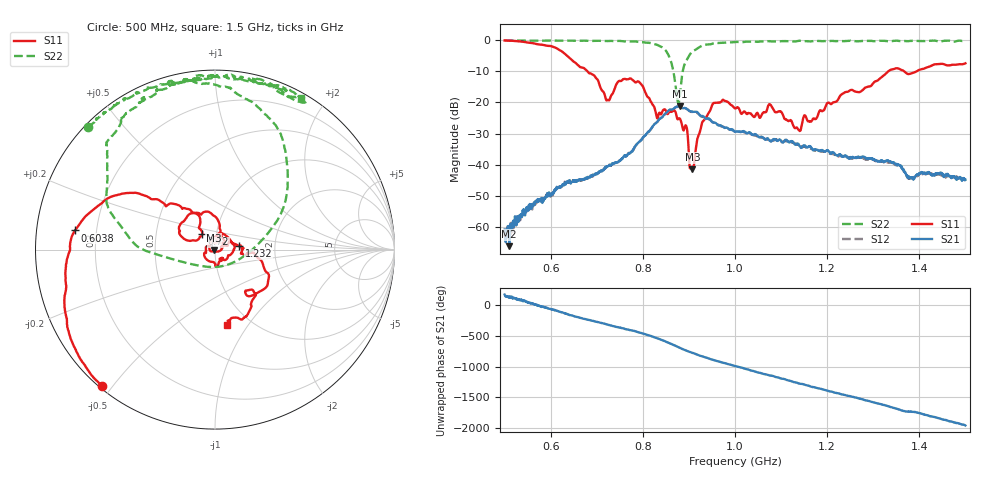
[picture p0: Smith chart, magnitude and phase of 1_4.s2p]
!Agilent Technologies,E8364B,US42250235,A.06.04.32
!Agilent E8364B: A.06.04.32
!Date: Friday, January 15, 2021 16:15:18
!Correction: S11(Full 2 Port(1,2)) S21(Full 2 Port(1,2)) S12(Full 2 Port(1,2)) S22(Full 2 Port(1,2))
!S2P File: Measurements: S11, S21, S12, S22:
# Hz S  dB  R 50
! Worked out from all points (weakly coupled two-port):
!   1601 points, 500 MHz to 1.5 GHz, reference 50 ohm
!   highest |S21| = -21.15 dB at 880.6 MHz (marker M1); lowest = -66.0 dB at 510 MHz (marker M2)
!   lowest |S11| = -41.4 dB at 907.5 MHz (marker M3), VSWR 1.02, Z = 49.2 - j0.369 ohm
!   |S11| at or under -10 dB: 679.8 MHz to 1.333 GHz (653 MHz wide, 64.9 % of centre); 1.367 GHz to 1.394 GHz (27.32 MHz wide, 1.98 % of centre)
!   |S22| runs from -20.3 to -0.1 dB; largest |S21 - S12| = 0.0028
!   S11 on the Smith chart (normalised r, x): 500 MHz: 0.01, -0.47; 603.8 MHz: 0.12, +0.07; 720 MHz: 0.86, +0.15; 1.232 GHz: 1.31, +0.05; 1.5 GHz: 0.78, -0.80
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5e8  -0.12 -129.5  -60.69 174.5  -61.03 148.4  -0.16 136.0
5.1e8  -0.15 -133.7  -66.04 139.3  -59.81 138.3  -0.19 133.9
6.0375e8  -2.08 172.2  -49.24 -68.6  -48.98 -70.8  -0.20 125.2
6.66875e8  -8.76 138.4  -44.65 148.3  -45.05 148.9  -0.21 116.2
7.2e8  -19.06 129.5  -40.79 52.2  -40.96 51.5  -0.30 110.8
7.74375e8  -12.39 122.4  -35.80 -47.7  -35.79 -47.9  -0.45 97.8
8.3375e8  -24.08 88.2  -25.69 174.9  -25.73 175.3  -1.71 72.0
8.6e8  -22.91 80.4  -22.27 92.7  -22.40 93.5  -6.38 34.9
8.75e8  -25.29 36.2  -21.36 44.4  -21.41 44.8  -19.12 -48.7
8.80625e8  -25.22 34.9  -21.15 24.5  -21.26 25.3  -17.32 -140.7
8.9375e8  -27.47 16.1  -21.91 -17.9  -21.98 -16.9  -6.77 174.9
9.075e8  -41.44 -153.8  -22.95 -54.6  -23.05 -54.0  -3.73 157.4
9.25625e8  -28.39 146.7  -24.28 -105.8  -24.35 -105.9  -2.04 139.3
9.525e8  -20.27 72.9  -26.42 -170.1  -26.34 -170.1  -1.09 126.4
1e9  -21.89 -23.3  -29.31 90.5  -29.33 91.3  -0.59 114.9
1.076875e9  -20.70 -88.9  -32.46 -66.5  -32.05 -65.1  -0.37 104.6
1.138125e9  -28.71 88.4  -33.37 166.1  -33.65 167.7  -0.24 94.2
1.166875e9  -25.83 44.1  -34.79 108.7  -34.77 111.6  -0.36 90.9
1.231875e9  -17.36 8.3  -37.19 -12.6  -37.13 -9.8  -0.34 86.0
1.33375e9  -9.87 -24.0  -38.79 150.6  -39.17 154.1  -0.37 76.4
1.3825e9  -10.68 -50.8  -44.23 66.4  -44.12 63.6  -0.25 70.6
1.5e9  -7.43 -80.8  -44.71 -159.4  -44.61 -160.3  -0.25 60.6
